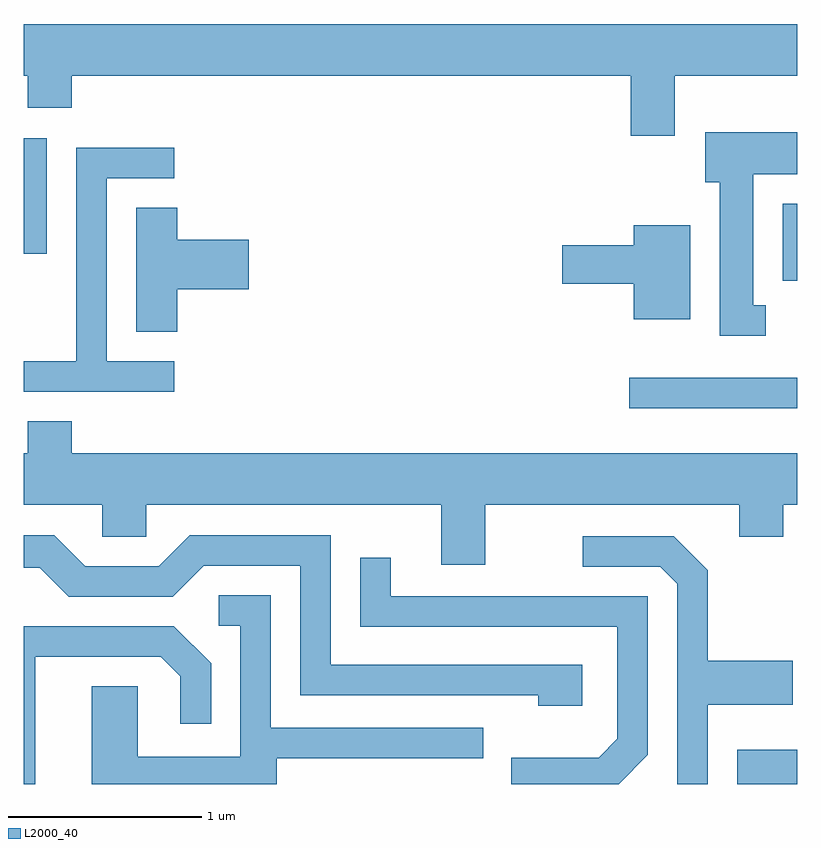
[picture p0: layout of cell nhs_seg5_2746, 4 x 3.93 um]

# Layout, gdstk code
import gdstk
lib = gdstk.Library(unit=1e-6, precision=1e-09)
def R(c, l, rs):  # rectangles x0, y0, x1, y1
    for r in rs: c.add(gdstk.rectangle(r[:2], r[2:], *l))
def P(c, l, *ps):  # polygons
    for p in ps: c.add(gdstk.Polygon(p, *l))
L2000_40 = (2000, 40)

nhs_seg5_2746 = lib.new_cell('nhs_seg5_2746')
R(nhs_seg5_2746, L2000_40, [(271.301,1402.072,271.611,1402.249), (270.743,1404.016,271.611,1404.174), (271.536,1404.676,271.611,1405.074), (267.611,1404.816,267.729,1405.414)])
P(nhs_seg5_2746, L2000_40, [(270.979,1405.736),(271.611,1405.736),(271.611,1406.004),(267.611,1406.004),(267.611,1405.736),(267.631,1405.736),(267.631,1405.571),(267.859,1405.571),(267.859,1405.736),(270.751,1405.736),(270.751,1405.426),(270.979,1405.426)],
  [(271.448,1404.549),(271.384,1404.549),(271.384,1405.226),(271.611,1405.226),(271.611,1405.444),(271.136,1405.444),(271.136,1405.186),(271.211,1405.186),(271.211,1404.391),(271.448,1404.391)],
  [(268.388,1404.259),(268.039,1404.259),(268.039,1405.206),(268.388,1405.206),(268.388,1405.364),(267.881,1405.364),(267.881,1404.259),(267.611,1404.259),(267.611,1404.101),(268.388,1404.101)],
  [(268.404,1404.631),(268.774,1404.631),(268.774,1404.889),(268.404,1404.889),(268.404,1405.054),(268.191,1405.054),(268.191,1404.411),(268.404,1404.411)],
  [(271.059,1404.964),(270.766,1404.964),(270.766,1404.859),(270.396,1404.859),(270.396,1404.661),(270.766,1404.661),(270.766,1404.476),(271.059,1404.476)],
  [(269.999,1403.516),(271.311,1403.516),(271.311,1403.351),(271.539,1403.351),(271.539,1403.516),(271.611,1403.516),(271.611,1403.784),(267.859,1403.784),(267.859,1403.949),(267.631,1403.949),(267.631,1403.784),(267.611,1403.784),(267.611,1403.516),(268.016,1403.516),(268.016,1403.351),(268.244,1403.351),(268.244,1403.516),(269.771,1403.516),(269.771,1403.206),(269.999,1403.206)],
  [(270.499,1402.689),(269.199,1402.689),(269.199,1403.359),(268.469,1403.359),(268.309,1403.199),(267.927,1403.199),(267.767,1403.359),(267.611,1403.359),(267.611,1403.191),(267.694,1403.191),(267.844,1403.041),(268.382,1403.041),(268.542,1403.201),(269.041,1403.201),(269.041,1402.531),(270.271,1402.531),(270.271,1402.476),(270.499,1402.476)],
  [(271.149,1402.481),(271.589,1402.481),(271.589,1402.709),(271.149,1402.709),(271.149,1403.177),(270.972,1403.354),(270.503,1403.354),(270.503,1403.196),(270.904,1403.196),(270.991,1403.109),(270.991,1402.072),(271.149,1402.072)],
  [(270.839,1402.224),(270.839,1403.044),(269.509,1403.044),(269.509,1403.243),(269.351,1403.243),(269.351,1402.886),(270.681,1402.886),(270.681,1402.307),(270.584,1402.209),(270.131,1402.209),(270.131,1402.072),(270.688,1402.072)],
  [(268.919,1402.206),(269.988,1402.206),(269.988,1402.364),(268.889,1402.364),(268.889,1403.049),(268.618,1403.049),(268.618,1402.891),(268.731,1402.891),(268.731,1402.214),(268.199,1402.214),(268.199,1402.579),(267.961,1402.579),(267.961,1402.072),(268.919,1402.072)],
  [(267.669,1402.731),(268.319,1402.731),(268.421,1402.629),(268.421,1402.383),(268.579,1402.383),(268.579,1402.697),(268.387,1402.889),(267.611,1402.889),(267.611,1402.072),(267.669,1402.072)])

lib.write_gds('nhs_seg5_2746.gds')
